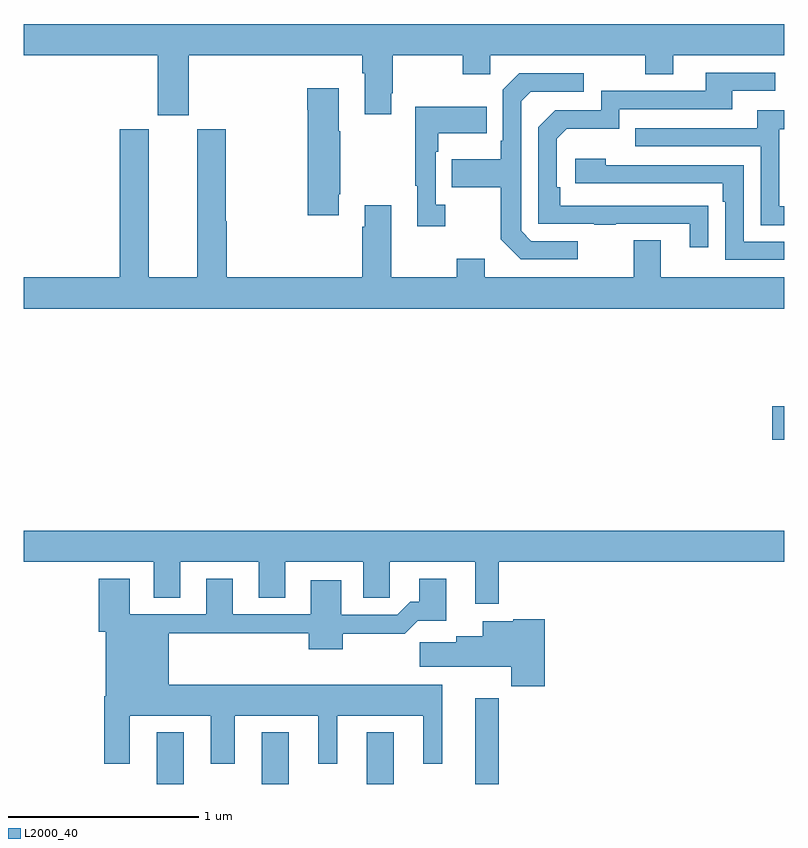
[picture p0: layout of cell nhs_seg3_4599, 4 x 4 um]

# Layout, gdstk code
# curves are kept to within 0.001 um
import gdstk
lib = gdstk.Library(unit=1e-6, precision=1e-09)
def R(c, l, rs):  # rectangles x0, y0, x1, y1
    for r in rs: c.add(gdstk.rectangle(r[:2], r[2:], *l))
def A(c, l, x, y, w, h, nx, ny, dx, dy):  # array of equal rectangles
    R(c, l, [(x+i*dx, y+j*dy, x+i*dx+w, y+j*dy+h) for i in range(nx) for j in range(ny)])
def P(c, l, *ps):  # polygons
    for p in ps: c.add(gdstk.Polygon(p, *l))
L2000_40 = (2000, 40)

nhs_seg3_4599 = lib.new_cell('nhs_seg3_4599')
A(nhs_seg3_4599, L2000_40, 357.701, 714.4, 0.14, 0.273, 3, 1, 0.552, 0)
R(nhs_seg3_4599, L2000_40, [(359.375,714.4,359.497,714.85), (360.936,716.209,361,716.387)])
P(nhs_seg3_4599, L2000_40, [(357.868,718.232),(358.781,718.232),(358.781,718.136),(358.793,718.136),(358.793,717.921),(358.933,717.921),(358.933,718.033),(358.941,718.033),(358.941,718.232),(359.308,718.232),(359.308,718.133),(359.454,718.133),(359.454,718.232),(360.268,718.232),(360.268,718.133),(360.415,718.133),(360.415,718.232),(361,718.232),(361,718.396),(357,718.396),(357,718.232),(357.704,718.232),(357.704,717.915),(357.868,717.915)],
  [(360.599,717.44),(359.822,717.441),(359.822,717.538),(359.802,717.538),(359.802,717.792),(359.855,717.845),(360.132,717.845),(360.132,717.948),(360.727,717.948),(360.727,718.044),(360.952,718.044),(360.952,718.14),(360.587,718.14),(360.587,718.044),(360.036,718.044),(360.036,717.942),(359.796,717.942),(359.706,717.852),(359.706,717.345),(360.001,717.345),(360.001,717.34),(360.113,717.34),(360.113,717.345),(360.503,717.345),(360.503,717.222),(360.599,717.222)],
  [(359.914,717.255),(359.67,717.255),(359.616,717.309),(359.616,717.99),(359.667,718.041),(359.944,718.041),(359.944,718.137),(359.607,718.137),(359.52,718.05),(359.52,717.781),(359.508,717.781),(359.508,717.685),(359.251,717.685),(359.251,717.538),(359.508,717.538),(359.508,717.265),(359.613,717.159),(359.914,717.159)],
  [(358.657,717.502),(358.665,717.502),(358.665,717.833),(358.657,717.833),(358.657,718.057),(358.49,718.057),(358.49,717.944),(358.495,717.944),(358.495,717.39),(358.657,717.39)],
  [(359.218,717.446),(359.166,717.446),(359.166,717.725),(359.179,717.725),(359.179,717.821),(359.435,717.821),(359.435,717.961),(359.058,717.961),(359.058,717.545),(359.069,717.545),(359.069,717.333),(359.218,717.333)],
  [(361,717.438),(360.972,717.438),(360.972,717.843),(361,717.843),(361,717.943),(360.857,717.943),(360.857,717.849),(360.217,717.849),(360.217,717.753),(360.876,717.753),(360.876,717.337),(361,717.337)],
  [(361,717.064),(360.349,717.064),(360.349,717.259),(360.209,717.259),(360.209,717.064),(359.425,717.064),(359.425,717.163),(359.278,717.163),(359.278,717.064),(358.933,717.064),(358.933,717.442),(358.793,717.442),(358.793,717.329),(358.781,717.329),(358.781,717.064),(358.067,717.064),(358.067,717.36),(358.062,717.36),(358.062,717.843),(357.914,717.843),(357.914,717.064),(357.658,717.064),(357.658,717.843),(357.506,717.843),(357.506,717.064),(357,717.064),(357,716.9),(361,716.9)],
  [(361,717.252),(360.786,717.252),(360.786,717.654),(360.062,717.654),(360.062,717.688),(359.901,717.688),(359.901,717.558),(360.677,717.558),(360.677,717.461),(360.69,717.461),(360.69,717.156),(361,717.156)],
  [(359.497,715.568),(361,715.568),(361,715.732),(357,715.732),(357,715.568),(357.683,715.568),(357.683,715.378),(357.823,715.378),(357.823,715.568),(358.235,715.568),(358.235,715.378),(358.375,715.378),(358.375,715.568),(358.787,715.568),(358.787,715.378),(358.926,715.378),(358.926,715.568),(359.375,715.568),(359.375,715.347),(359.497,715.347)],
  [(357.559,714.758),(357.983,714.758),(357.983,714.507),(358.111,714.507),(358.111,714.758),(358.55,714.758),(358.55,714.507),(358.648,714.507),(358.648,714.758),(359.102,714.758),(359.102,714.507),(359.2,714.507),(359.2,714.922),(357.763,714.922),(357.763,715.192),(358.499,715.192),(358.499,715.109),(358.677,715.109),(358.677,715.19),(359.003,715.19),(359.072,715.259),(359.221,715.259),(359.221,715.48),(359.081,715.48),(359.081,715.357),(359.032,715.357),(358.965,715.29),(358.669,715.29),(358.669,715.471),(358.511,715.471),(358.511,715.293),(358.099,715.293),(358.099,715.48),(357.959,715.48),(357.959,715.293),(357.559,715.293),(357.559,715.48),(357.395,715.48),(357.395,715.2),(357.431,715.2),(357.431,714.862),(357.424,714.862),(357.424,714.507),(357.559,714.507)],
  [(359.741,715.267),(359.574,715.267),(359.574,715.255),(359.414,715.255),(359.414,715.177),(359.276,715.177),(359.276,715.145),(359.082,715.145),(359.082,715.016),(359.563,715.016),(359.563,714.915),(359.741,714.915)])

lib.write_gds('nhs_seg3_4599.gds')
